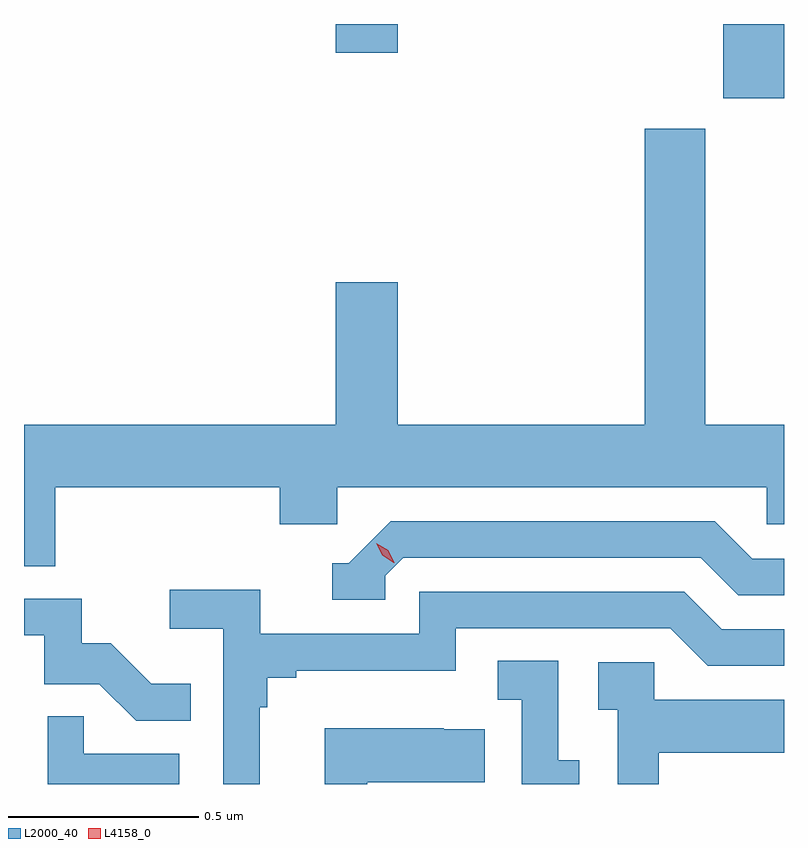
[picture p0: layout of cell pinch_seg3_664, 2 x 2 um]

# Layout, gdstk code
import gdstk
lib = gdstk.Library(unit=1e-6, precision=1e-09)
def R(c, l, rs):  # rectangles x0, y0, x1, y1
    for r in rs: c.add(gdstk.rectangle(r[:2], r[2:], *l))
def P(c, l, *ps):  # polygons
    for p in ps: c.add(gdstk.Polygon(p, *l))
L2000_40 = (2000, 40)
L4158_0 = (4158, 0)

pinch_seg3_664 = lib.new_cell('pinch_seg3_664')
R(pinch_seg3_664, L2000_40, [(1029.164,669.971,1029.324,670.167), (1028.144,670.092,1028.308,670.167)])
P(pinch_seg3_664, L2000_40, [(1027.406,668.948),(1027.997,668.948),(1027.997,668.85),(1028.148,668.85),(1028.148,668.948),(1029.279,668.948),(1029.279,668.85),(1029.324,668.85),(1029.324,669.112),(1029.117,669.112),(1029.117,669.892),(1028.957,669.892),(1028.957,669.112),(1028.308,669.112),(1028.308,669.487),(1028.144,669.487),(1028.144,669.112),(1027.324,669.112),(1027.324,668.74),(1027.406,668.74)],
  [(1028.274,668.715),(1028.322,668.763),(1029.105,668.763),(1029.204,668.664),(1029.324,668.664),(1029.324,668.76),(1029.241,668.76),(1029.142,668.859),(1028.289,668.859),(1028.178,668.748),(1028.135,668.748),(1028.135,668.652),(1028.274,668.652)],
  [(1027.945,668.369),(1027.964,668.369),(1027.964,668.446),(1028.041,668.446),(1028.041,668.465),(1028.46,668.465),(1028.46,668.577),(1029.024,668.577),(1029.123,668.478),(1029.324,668.478),(1029.324,668.574),(1029.16,668.574),(1029.061,668.673),(1028.364,668.673),(1028.364,668.562),(1027.946,668.562),(1027.946,668.678),(1027.707,668.678),(1027.707,668.576),(1027.848,668.576),(1027.848,668.167),(1027.945,668.167)],
  [(1027.763,668.431),(1027.659,668.431),(1027.552,668.538),(1027.476,668.538),(1027.476,668.655),(1027.324,668.655),(1027.324,668.559),(1027.377,668.559),(1027.377,668.43),(1027.522,668.43),(1027.619,668.333),(1027.763,668.333)],
  [(1028.785,668.229),(1028.73,668.229),(1028.73,668.492),(1028.571,668.492),(1028.571,668.389),(1028.634,668.389),(1028.634,668.167),(1028.785,668.167)],
  [(1028.995,668.249),(1029.324,668.249),(1029.324,668.389),(1028.982,668.389),(1028.982,668.487),(1028.835,668.487),(1028.835,668.363),(1028.886,668.363),(1028.886,668.167),(1028.995,668.167)],
  [(1027.732,668.247),(1027.481,668.247),(1027.481,668.345),(1027.386,668.345),(1027.386,668.167),(1027.732,668.167)],
  [(1028.227,668.171),(1028.537,668.171),(1028.537,668.311),(1028.429,668.311),(1028.429,668.314),(1028.115,668.314),(1028.115,668.167),(1028.227,668.167)])
P(pinch_seg3_664, L4158_0, [(1028.297,668.749),(1028.267,668.769),(1028.251,668.801),(1028.251,668.801),(1028.251,668.801),(1028.282,668.782),(1028.298,668.749),(1028.298,668.749)])

lib.write_gds('pinch_seg3_664.gds')
